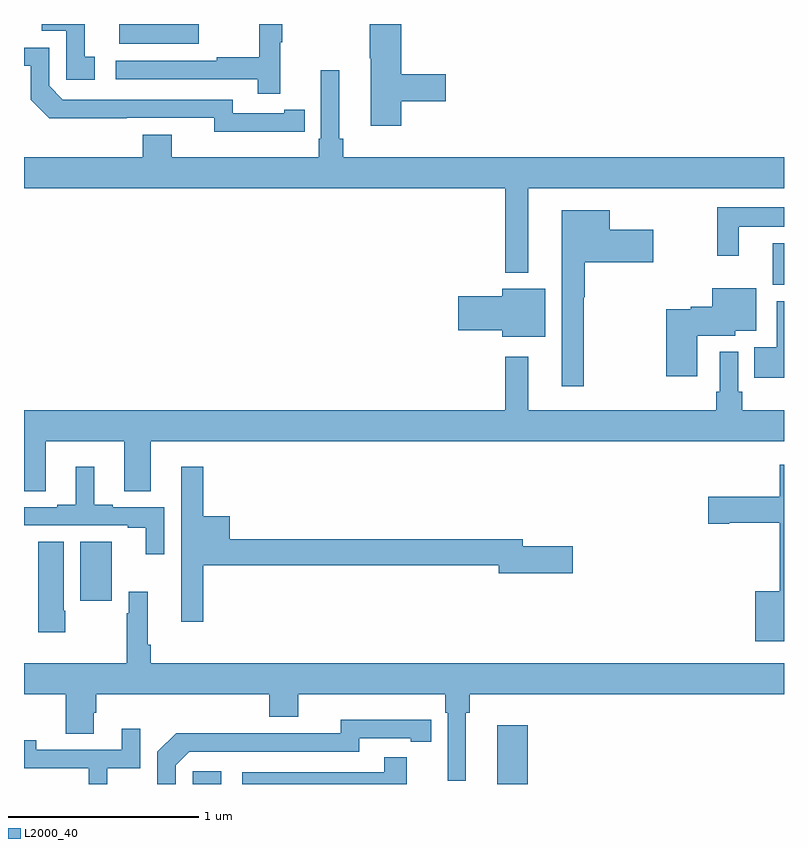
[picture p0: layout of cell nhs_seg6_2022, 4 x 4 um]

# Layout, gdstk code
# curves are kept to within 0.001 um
import gdstk
lib = gdstk.Library(unit=1e-6, precision=1e-09)
def R(c, l, rs):  # rectangles x0, y0, x1, y1
    for r in rs: c.add(gdstk.rectangle(r[:2], r[2:], *l))
def P(c, l, *ps):  # polygons
    for p in ps: c.add(gdstk.Polygon(p, *l))
L2000_40 = (2000, 40)

nhs_seg6_2022 = lib.new_cell('nhs_seg6_2022')
R(nhs_seg6_2022, L2000_40, [(231.888,977.5,232.039,977.566), (233.492,977.5,233.651,977.809), (231.296,978.465,231.463,978.776), (234.941,980.127,235,980.347), (231.5,981.395,231.919,981.5)])
P(nhs_seg6_2022, L2000_40, [(232.985,981.094),(233.221,981.094),(233.221,981.236),(232.985,981.236),(232.985,981.5),(232.819,981.5),(232.819,981.319),(232.826,981.319),(232.826,980.964),(232.985,980.964)],
  [(232.349,981.403),(232.36,981.403),(232.36,981.5),(232.239,981.5),(232.239,981.326),(232.015,981.326),(232.015,981.306),(231.483,981.306),(231.483,981.21),(232.231,981.21),(232.231,981.132),(232.349,981.132)],
  [(231.373,981.327),(231.32,981.327),(231.32,981.5),(231.093,981.5),(231.093,981.465),(231.222,981.465),(231.222,981.207),(231.373,981.207)],
  [(232.37,980.934),(232.478,980.934),(232.478,981.05),(232.37,981.05),(232.37,981.03),(232.098,981.03),(232.098,981.102),(231.204,981.102),(231.132,981.174),(231.132,981.375),(231,981.375),(231,981.279),(231.036,981.279),(231.036,981.102),(231.134,981.005),(232.002,981.006),(232.002,980.933)],
  [(233.653,980.636),(235,980.636),(235,980.8),(232.679,980.8),(232.679,980.896),(232.66,980.896),(232.66,981.256),(232.563,981.256),(232.563,980.896),(232.55,980.896),(232.55,980.8),(231.778,980.8),(231.778,980.917),(231.626,980.917),(231.626,980.8),(231,980.8),(231,980.636),(233.532,980.636),(233.532,980.192),(233.653,980.192)],
  [(234.763,980.432),(235,980.432),(235,980.536),(234.649,980.536),(234.649,980.28),(234.763,980.28)],
  [(233.945,980.062),(233.95,980.062),(233.95,980.246),(234.313,980.246),(234.313,980.416),(234.082,980.416),(234.082,980.521),(233.831,980.521),(233.831,979.593),(233.945,979.593)],
  [(234.544,979.859),(234.744,979.859),(234.744,979.886),(234.853,979.886),(234.853,980.11),(234.623,980.11),(234.623,980.012),(234.509,980.012),(234.509,979.999),(234.379,979.999),(234.379,979.647),(234.544,979.647)],
  [(233.743,980.107),(233.516,980.107),(233.516,980.066),(233.286,980.066),(233.286,979.888),(233.516,979.888),(233.516,979.853),(233.743,979.853)],
  [(235,980.042),(234.962,980.042),(234.962,979.798),(234.844,979.798),(234.844,979.637),(235,979.637)],
  [(231.115,979.304),(231.527,979.304),(231.527,979.042),(231.667,979.042),(231.667,979.304),(235,979.304),(235,979.468),(234.779,979.468),(234.779,979.564),(234.759,979.564),(234.759,979.774),(234.663,979.774),(234.663,979.564),(234.643,979.564),(234.643,979.468),(233.653,979.468),(233.653,979.75),(233.532,979.75),(233.532,979.468),(231,979.468),(231,979.042),(231.115,979.042)],
  [(235,979.18),(234.978,979.18),(234.978,979.011),(234.6,979.011),(234.6,978.869),(234.712,978.869),(234.712,978.874),(234.978,978.874),(234.978,978.514),(234.848,978.514),(234.848,978.251),(235,978.251)],
  [(231.944,978.652),(233.498,978.652),(233.498,978.61),(233.887,978.61),(233.887,978.752),(233.626,978.752),(233.626,978.788),(232.084,978.788),(232.084,978.91),(231.944,978.91),(231.944,979.171),(231.828,979.171),(231.828,978.675),(231.827,978.675),(231.827,978.354),(231.944,978.354)],
  [(231.738,978.957),(231.466,978.957),(231.466,978.97),(231.37,978.97),(231.37,979.171),(231.272,979.171),(231.272,978.97),(231.176,978.97),(231.176,978.957),(231,978.957),(231,978.861),(231.545,978.861),(231.545,978.849),(231.641,978.849),(231.641,978.708),(231.738,978.708)],
  [(231.216,978.412),(231.208,978.412),(231.208,978.776),(231.074,978.776),(231.074,978.3),(231.216,978.3)],
  [(233.326,977.876),(233.345,977.876),(233.345,977.972),(235,977.972),(235,978.136),(231.668,978.136),(231.668,978.232),(231.65,978.232),(231.65,978.511),(231.552,978.511),(231.552,978.398),(231.54,978.398),(231.54,978.136),(231,978.136),(231,977.972),(231.22,977.972),(231.22,977.764),(231.367,977.764),(231.367,977.874),(231.38,977.874),(231.38,977.972),(232.292,977.972),(232.292,977.855),(232.444,977.855),(232.444,977.972),(233.216,977.972),(233.216,977.876),(233.229,977.876),(233.229,977.517),(233.326,977.517)],
  [(231.798,977.598),(231.87,977.67),(232.764,977.67),(232.764,977.742),(233.036,977.742),(233.036,977.722),(233.144,977.722),(233.144,977.838),(232.668,977.839),(232.668,977.766),(232.208,977.766),(232.208,977.768),(231.8,977.768),(231.702,977.67),(231.702,977.5),(231.798,977.5)],
  [(231.438,977.583),(231.612,977.583),(231.612,977.791),(231.515,977.791),(231.515,977.679),(231.064,977.679),(231.064,977.731),(231,977.731),(231,977.583),(231.342,977.583),(231.342,977.5),(231.438,977.5)],
  [(233.015,977.641),(232.897,977.641),(232.897,977.562),(232.149,977.562),(232.149,977.5),(233.015,977.5)])

lib.write_gds('nhs_seg6_2022.gds')
